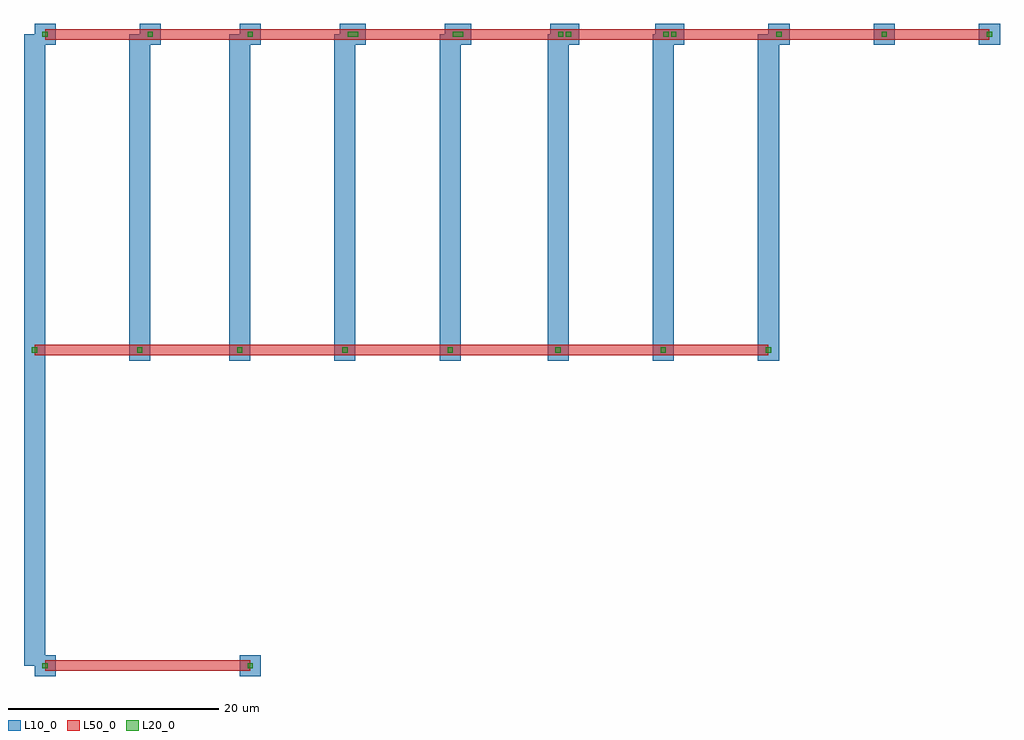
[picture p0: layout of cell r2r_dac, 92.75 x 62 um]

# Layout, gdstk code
import gdstk
lib = gdstk.Library(unit=1e-6, precision=1e-09)
def R(c, l, rs):  # rectangles x0, y0, x1, y1
    for r in rs: c.add(gdstk.rectangle(r[:2], r[2:], *l))
def A(c, l, x, y, w, h, nx, ny, dx, dy):  # array of equal rectangles
    R(c, l, [(x+i*dx, y+j*dy, x+i*dx+w, y+j*dy+h) for i in range(nx) for j in range(ny)])
L10_0 = (10, 0)
L20_0 = (20, 0)
L50_0 = (50, 0)

r_sp0 = lib.new_cell('R_sp0')
R(r_sp0, L10_0, [(-1,-0.5,1,1.5), (9,-0.5,11,1.5)])
R(r_sp0, L20_0, [(-0.25,0.25,0.25,0.75), (9.75,0.25,10.25,0.75)])
R(r_sp0, L50_0, [(0,0,10,1)])

r_sp1 = lib.new_cell('R_sp1')
R(r_sp1, L10_0, [(-1,-0.5,1,1.5), (8.5,-0.5,10.5,1.5)])
R(r_sp1, L20_0, [(-0.25,0.25,0.25,0.75), (9.25,0.25,9.75,0.75)])
R(r_sp1, L50_0, [(0,0,9.5,1)])

r_sp4 = lib.new_cell('R_sp4')
R(r_sp4, L10_0, [(-1,-0.5,1,1.5), (9.25,-0.5,11.25,1.5)])
R(r_sp4, L20_0, [(-0.25,0.25,0.25,0.75), (10,0.25,10.5,0.75)])
R(r_sp4, L50_0, [(0,0,10.25,1)])

r_term = lib.new_cell('R_term')
R(r_term, L10_0, [(-1,-0.5,1,1.5), (18.5,-0.5,20.5,1.5)])
R(r_term, L20_0, [(-0.25,0.25,0.25,0.75), (19.25,0.25,19.75,0.75)])
R(r_term, L50_0, [(0,0,19.5,1)])

r_in1 = lib.new_cell('R_in1')
R(r_in1, L10_0, [(-1,-0.5,1,1.5), (18,-0.5,20,1.5)])
R(r_in1, L20_0, [(-0.25,0.25,0.25,0.75), (18.75,0.25,19.25,0.75)])
R(r_in1, L50_0, [(0,0,19,1)])

r_in5 = lib.new_cell('R_in5')
R(r_in5, L10_0, [(-1,-0.5,1,1.5), (19,-0.5,21,1.5)])
R(r_in5, L20_0, [(-0.25,0.25,0.25,0.75), (19.75,0.25,20.25,0.75)])
R(r_in5, L50_0, [(0,0,20,1)])

r2r_dac = lib.new_cell('r2r_dac')
A(r2r_dac, L10_0, 18.5, 0.5, 2, 30, 3, 1, 10, 0)
A(r2r_dac, L10_0, 48.75, 0.5, 2, 30, 3, 1, 10, 0)
R(r2r_dac, L10_0, [(-1,-29.5,1,0.5), (-1,0.5,1,30.5), (9,0.5,11,30.5)])
r2r_dac.add(gdstk.Reference(r_sp0, (0,0)))
r2r_dac.add(gdstk.Reference(r_sp1, (10,0)))
r2r_dac.add(gdstk.Reference(r_sp0, (19.5,0)))
r2r_dac.add(gdstk.Reference(r_sp0, (29.5,0)))
r2r_dac.add(gdstk.Reference(r_sp4, (39.5,0)))
r2r_dac.add(gdstk.Reference(r_sp0, (49.75,0)))
r2r_dac.add(gdstk.Reference(r_sp0, (59.75,0)))
r2r_dac.add(gdstk.Reference(r_term, (1,30)))
r2r_dac.add(gdstk.Reference(r_in1, (11,30)))
r2r_dac.add(gdstk.Reference(r_term, (20.5,30)))
r2r_dac.add(gdstk.Reference(r_term, (30.5,30)))
r2r_dac.add(gdstk.Reference(r_term, (40.5,30)))
r2r_dac.add(gdstk.Reference(r_in5, (50.75,30)))
r2r_dac.add(gdstk.Reference(r_in5, (60.75,30)))
r2r_dac.add(gdstk.Reference(r_in5, (70.75,30)))
r2r_dac.add(gdstk.Reference(r_term, (1,-30)))

lib.write_gds('r2r_dac.gds')
